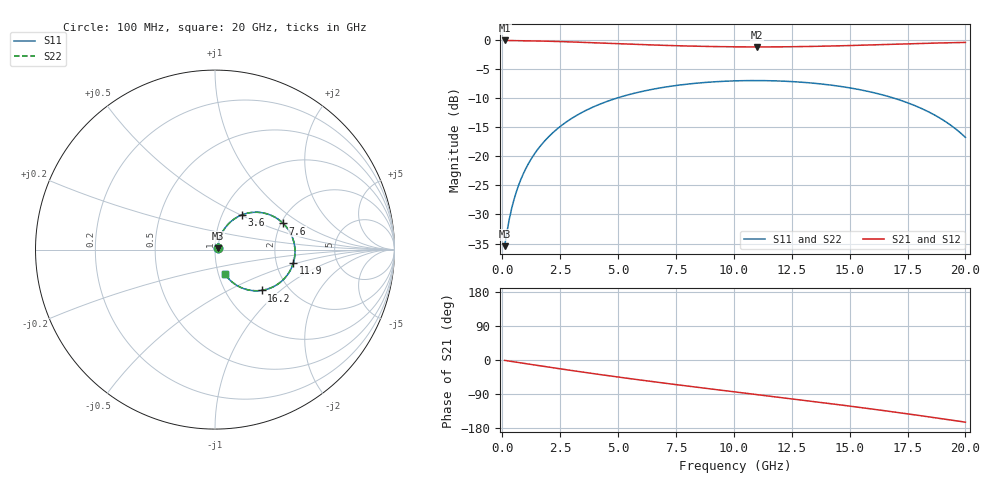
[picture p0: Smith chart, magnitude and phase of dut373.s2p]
! Touchstone file exported from HFSS 2026.1.0
!  File:  C:/ffzhzh/LocalFiles/Ansys_Project_Files/temp_train_TSV_RDL_373_1783041056_46388.aedt
!  Generated:  09:30:48 AM Jul  3, 2026
!  Design:  TSV_RDL
!  Project:  temp_train_TSV_RDL_373_1783041056_46388
! Variables:
!  h_bsmrdl = 3.91um
!  h_ox = 20um
!  h_rdl = 5um
!  h_sub = 95.22um
!  h_tmrdl = 3.27um
!  h_tsv = 95.22um
!  h_via = 3um
!  l_bsmrdl = 447.21um
!  l_sub = 2553.66um
!  l_tmrdl = 166.94um
!  m_sub = 200um
!  pitch = 39.76um
!  r_tsv = 3.77um
!  s_tmrdl = 10um
!  w_bsmrdl = 19.99um
!  w_sub = 500um
!  w_tmrdl = 28.1um
!  x_tsv_center1 = 180.99um
!  x_tsv_center2 = 648.19um
!  x_tsv_center3 = 843.23um
!  x_tsv_center4 = 1310.43um
!  x_tsv_center5 = 1505.47um
!  x_tsv_center6 = 1972.67um
# GHz S MA R 50.000000
! Terminal data exported
! Port[1] = TM_RDL1_1_T1
! Port[2] = TM_RDL5_1_T1
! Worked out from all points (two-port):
!   200 points, 100 MHz to 20 GHz, reference 50 ohm
!   highest |S21| = -0.13 dB at 100 MHz (marker M1); lowest = -1.2 dB at 11 GHz (marker M2)
!   |S21| within 3 dB of the highest: start of sweep to end of sweep
!   lowest |S11| = -35.4 dB at 100 MHz (marker M3), VSWR 1.03, Z = 51.5 + j0.832 ohm
!   |S11| at or under -10 dB: start of sweep to 4.968 GHz; 16.89 GHz to end of sweep
!   |S22| runs from -35.4 to -7.0 dB; largest |S21 - S12| = 2.7e-14
!   S11 on the Smith chart (normalised r, x): 100 MHz: 1.03, +0.02; 3.6 GHz: 1.24, +0.51; 7.6 GHz: 2.06, +0.72; 11.9 GHz: 2.48, -0.47; 16.2 GHz: 1.47, -0.76; 20 GHz: 1.07, -0.29
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0.1  0.0169 28.6  0.9853 -1.0  0.9853 -1.0  0.0169 28.6
! Gamma 0 0 0 0
! Port Impedance 50 0 50 0
0.3  0.02866 53.6  0.9839 -2.9  0.9839 -2.9  0.02866 53.6
0.5  0.04209 62.0  0.9826 -4.8  0.9826 -4.8  0.04209 62.0
0.8  0.06303 66.6  0.9809 -7.6  0.9809 -7.6  0.06303 66.6
1.2  0.09132 67.4  0.9781 -11.3  0.9781 -11.3  0.09132 67.4
1.7  0.1263 65.6  0.9735 -16.0  0.9735 -16.0  0.1263 65.6
2.2  0.1602 62.5  0.9678 -20.6  0.9678 -20.6  0.1602 62.5
3.5  0.2409 52.7  0.949 -32.2  0.949 -32.2  0.2409 52.7
3.6  0.2466 52.0  0.9474 -33.0  0.9474 -33.0  0.2466 52.0
5  0.3177 40.9  0.9243 -45.0  0.9243 -45.0  0.3177 40.9
6.8  0.3852 27.0  0.8969 -59.5  0.8969 -59.5  0.3852 27.0
7.6  0.4069 21.0  0.887 -65.7  0.887 -65.7  0.4069 21.0
10.1  0.4437 2.9  0.8686 -84.5  0.8686 -84.5  0.4437 3.0
11  0.446 -3.5  0.867 -91.2  0.867 -91.2  0.446 -3.4
11.9  0.4426 -9.9  0.8682 -97.9  0.8682 -97.9  0.4426 -9.8
13.4  0.4241 -20.6  0.876 -109.2  0.876 -109.2  0.4241 -20.6
14.8  0.392 -30.8  0.8887 -120.0  0.8887 -120.0  0.392 -30.8
16.2  0.3449 -41.3  0.9051 -131.3  0.9051 -131.3  0.3449 -41.2
16.7  0.3244 -45.0  0.9114 -135.4  0.9114 -135.4  0.3244 -45.0
18.6  0.2297 -59.1  0.9347 -151.6  0.9347 -151.6  0.2297 -59.1
19.4  0.1826 -64.6  0.9427 -158.7  0.9427 -158.7  0.1826 -64.5
20  0.1451 -68.0  0.9475 -164.0  0.9475 -164.0  0.1451 -68.0
